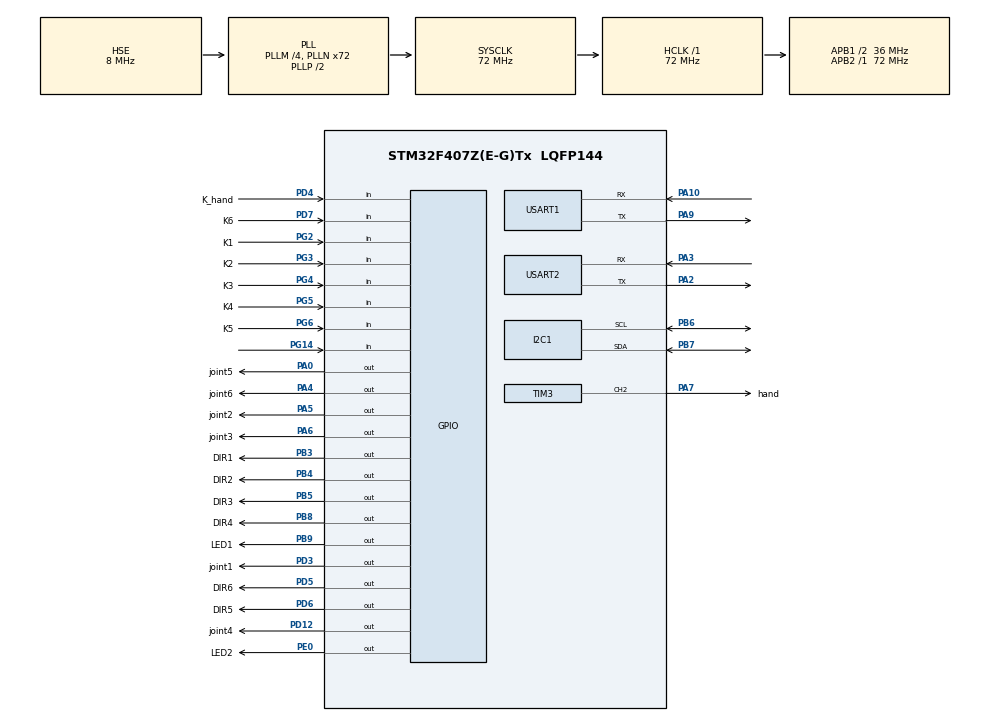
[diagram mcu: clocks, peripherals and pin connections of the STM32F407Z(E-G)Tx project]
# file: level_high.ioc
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Dma.Request0=USART1_RX
Dma.USART1_RX.0.Direction=DMA_PERIPH_TO_MEMORY
Dma.USART1_RX.0.FIFOMode=DMA_FIFOMODE_DISABLE
Dma.USART1_RX.0.Instance=DMA2_Stream2
Dma.USART1_RX.0.MemDataAlignment=DMA_MDATAALIGN_BYTE
Dma.USART1_RX.0.MemInc=DMA_MINC_ENABLE
Dma.USART1_RX.0.Mode=DMA_NORMAL
Dma.USART1_RX.0.PeriphDataAlignment=DMA_PDATAALIGN_BYTE
Dma.USART1_RX.0.PeriphInc=DMA_PINC_DISABLE
Dma.USART1_RX.0.Priority=DMA_PRIORITY_MEDIUM
I2C1.I2C_Mode=I2C_Fast
Mcu.Family=STM32F4
Mcu.Name=STM32F407Z(E-G)Tx
Mcu.Package=LQFP144
NVIC.DMA2_Stream2_IRQn=true\:2\:0\:true\:false\:true\:false\:true\:true
NVIC.PriorityGroup=NVIC_PRIORITYGROUP_4
NVIC.USART1_IRQn=true\:0\:0\:false\:false\:true\:true\:true\:true
NVIC.USART2_IRQn=true\:0\:0\:false\:false\:true\:true\:true\:true
PA0-WKUP.GPIO_Label=joint5
PA0-WKUP.GPIO_PuPd=GPIO_NOPULL
PA0-WKUP.GPIO_Speed=GPIO_SPEED_FREQ_MEDIUM
PA0-WKUP.PinState=GPIO_PIN_SET
PA0-WKUP.Signal=GPIO_Output
PA10.Mode=Asynchronous
PA10.Signal=USART1_RX
PA13.Mode=Serial_Wire
PA13.Signal=SYS_JTMS-SWDIO
PA14.Mode=Serial_Wire
PA14.Signal=SYS_JTCK-SWCLK
PA2.Mode=Asynchronous
PA2.Signal=USART2_TX
PA3.Mode=Asynchronous
PA3.Signal=USART2_RX
PA4.GPIO_Label=joint6
PA4.GPIO_Speed=GPIO_SPEED_FREQ_MEDIUM
PA4.PinState=GPIO_PIN_SET
PA4.Signal=GPIO_Output
PA5.GPIO_Label=joint2
PA5.GPIO_PuPd=GPIO_NOPULL
PA5.GPIO_Speed=GPIO_SPEED_FREQ_MEDIUM
PA5.PinState=GPIO_PIN_SET
PA5.Signal=GPIO_Output
PA6.GPIO_Label=joint3
PA6.GPIO_Speed=GPIO_SPEED_FREQ_MEDIUM
PA6.PinState=GPIO_PIN_SET
PA6.Signal=GPIO_Output
PA7.GPIO_Label=hand
PA7.GPIO_Speed=GPIO_SPEED_FREQ_MEDIUM
PA7.Signal=S_TIM3_CH2
PA9.Mode=Asynchronous
PA9.Signal=USART1_TX
PB3.GPIO_Label=DIR1
PB3.PinState=GPIO_PIN_SET
PB3.Signal=GPIO_Output
PB4.GPIO_Label=DIR2
PB4.PinState=GPIO_PIN_SET
PB4.Signal=GPIO_Output
PB5.GPIO_Label=DIR3
PB5.PinState=GPIO_PIN_SET
PB5.Signal=GPIO_Output
PB6.Mode=I2C
PB6.Signal=I2C1_SCL
PB7.Mode=I2C
PB7.Signal=I2C1_SDA
PB8.GPIO_Label=DIR4
PB8.PinState=GPIO_PIN_SET
PB8.Signal=GPIO_Output
PB9.GPIO_Label=LED1
PB9.PinState=GPIO_PIN_SET
PB9.Signal=GPIO_Output
PD12.GPIO_Label=joint4
PD12.GPIO_Speed=GPIO_SPEED_FREQ_MEDIUM
PD12.PinState=GPIO_PIN_SET
PD12.Signal=GPIO_Output
PD3.GPIO_Label=joint1
PD3.GPIO_PuPd=GPIO_PULLUP
PD3.GPIO_Speed=GPIO_SPEED_FREQ_MEDIUM
PD3.PinState=GPIO_PIN_RESET
PD3.Signal=GPIO_Output
PD4.GPIO_Label=K_hand
PD4.GPIO_PuPd=GPIO_PULLUP
PD4.Signal=GPIO_Input
PD5.GPIO_Label=DIR6
PD5.PinState=GPIO_PIN_SET
PD5.Signal=GPIO_Output
PD6.GPIO_Label=DIR5
PD6.PinState=GPIO_PIN_SET
PD6.Signal=GPIO_Output
PD7.GPIO_Label=K6
PD7.GPIO_PuPd=GPIO_PULLUP
PD7.Signal=GPIO_Input
PE0.GPIO_Label=LED2
PE0.PinState=GPIO_PIN_SET
PE0.Signal=GPIO_Output
PG14.GPIO_PuPd=GPIO_PULLUP
PG14.Signal=GPIO_Input
PG2.GPIO_Label=K1
PG2.GPIO_PuPd=GPIO_PULLUP
PG2.Signal=GPIO_Input
PG3.GPIO_Label=K2
PG3.GPIO_PuPd=GPIO_PULLUP
PG3.Signal=GPIO_Input
PG4.GPIO_Label=K3
PG4.GPIO_PuPd=GPIO_PULLUP
PG4.Signal=GPIO_Input
PG5.GPIO_Label=K4
PG5.GPIO_PuPd=GPIO_PULLUP
PG5.Signal=GPIO_Input
PG6.GPIO_Label=K5
PG6.GPIO_PuPd=GPIO_PULLUP
PG6.Signal=GPIO_Input
PH0-OSC_IN.Mode=HSE-External-Oscillator
PH0-OSC_IN.Signal=RCC_OSC_IN
PH1-OSC_OUT.Mode=HSE-External-Oscillator
PH1-OSC_OUT.Signal=RCC_OSC_OUT
ProjectManager.HeapSize=0x200
ProjectManager.StackSize=0x400
ProjectManager.TargetToolchain=Makefile
RCC.48MHZClocksFreq_Value=36000000
RCC.AHBFreq_Value=72000000
RCC.APB1CLKDivider=RCC_HCLK_DIV2
RCC.APB1Freq_Value=36000000
RCC.APB1TimFreq_Value=72000000
RCC.APB2Freq_Value=72000000
RCC.APB2TimFreq_Value=72000000
RCC.CortexFreq_Value=72000000
RCC.HCLKFreq_Value=72000000
RCC.HSE_VALUE=8000000
RCC.HSI_VALUE=16000000
RCC.LSE_VALUE=32768
RCC.PLLM=4
RCC.PLLN=72
RCC.PLLSourceVirtual=RCC_PLLSOURCE_HSE
RCC.SYSCLKFreq_VALUE=72000000
RCC.SYSCLKSource=RCC_SYSCLKSOURCE_PLLCLK
RCC.VCOOutputFreq_Value=144000000
SH.S_TIM3_CH2.0=TIM3_CH2,PWM Generation2 CH2
TIM3.Channel-PWM\ Generation2\ CH2=TIM_CHANNEL_2
TIM3.Period=20000
TIM3.Prescaler=72-1
USART1.VirtualMode=VM_ASYNC
USART2.VirtualMode=VM_ASYNC
VP_TIM3_VS_ClockSourceINT.Mode=Internal
board=custom

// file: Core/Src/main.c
/* USER CODE BEGIN Header */
/**
 ******************************************************************************
 * @file           : main.c
 * @brief          : Main program body
 ******************************************************************************
 * @attention
 *
 * Copyright (c) 2025 STMicroelectronics.
 * All rights reserved.
 *
 * This software is licensed under terms that can be found in the LICENSE file
 * in the root directory of this software component.
 * If no LICENSE file comes with this software, it is provided AS-IS.
 *
 ******************************************************************************
 */
/* USER CODE END Header */
#include "main.h"
#include "dma.h"
#include "i2c.h"
#include "tim.h"
#include "usart.h"
#include "gpio.h"

/* USER CODE BEGIN Includes */
#include "package.h"
#include "motor.h"
#include "data_cal.h"
#include "oled.h"
/* USER CODE END Includes */

/* USER CODE BEGIN PTD */
enum ACTION
{
  STOP = 0,
  MOVE
};
/* USER CODE END PTD */

/* USER CODE BEGIN PV */

u8 Rec_Data[19] = {0};
enum ACTION Flag = STOP;
u8 test_data[3];
u8 test_flag = 0;
int step[6] = {0};

float angleset[7] = {0};
// usart的dma
u8 dma_test[19] = {0};

#define BUF_SIZE 95
#define PACKAGE_SIZE 19
    uint8_t dma_buffer1[BUF_SIZE];
uint8_t dma_buffer2[BUF_SIZE];
volatile uint8_t current_active_buffer = 0; // 0: buffer1, 1: buffer2
volatile uint16_t last_received_size = 0;
volatile uint8_t new_data_available = 0;
/* USER CODE END PV */

void SystemClock_Config(void);
/* USER CODE BEGIN PFP */
void HAL_UARTEx_RxEventCallback(UART_HandleTypeDef *huart, uint16_t Size)
{
  if (huart->Instance == USART1)
  {
    // 记录接收到的数据量
    last_received_size = Size;

    // 切换缓冲区
    // if (current_active_buffer == 0)
    // {
    //   current_active_buffer = 1;
    //   HAL_UARTEx_ReceiveToIdle_DMA(&huart1, dma_buffer2, BUF_SIZE);
    // }
    // else
    // {
    //   current_active_buffer = 0;
    //   HAL_UARTEx_ReceiveToIdle_DMA(&huart1, dma_buffer1, BUF_SIZE);
    // }
    HAL_UARTEx_ReceiveToIdle_DMA(&huart1, dma_test, 19);
    Flag = MOVE;
    // 设置新数据可用标志
    new_data_available = 1;
  }
}

void function(void)
{
  HAL_GPIO_TogglePin(joint5_GPIO_Port, joint5_Pin);
}
/* USER CODE END PFP */

int main(void)
{

  /* MCU Configuration--------------------------------------------------------*/

  /* Reset of all peripherals, Initializes the Flash interface and the Systick. */
  HAL_Init();

  /* Configure the system clock */
  SystemClock_Config();

  /* Initialize all configured peripherals */
  MX_GPIO_Init();
  MX_DMA_Init();
  MX_USART1_UART_Init();
  MX_I2C1_Init();
  MX_TIM3_Init();
  MX_USART2_UART_Init();
  /* USER CODE BEGIN 2 */
  Motor_Init();

  /*这里是机械臂寻找复位
  ，还有oled的初始化，但是不知道为什么，这里oled初始化会出错，*/
  // OLED_Init();  // OLED初始
  // OLED_Clear(); // 清屏
  // Reset_joint();

  // HAL_UART_Receive_IT(&huart1, Rec_Data, sizeof(Rec_Data));
  // HAL_UART_Receive_IT(&huart1, test_data, sizeof(test_data));
  // HAL_UARTEx_ReceiveToIdle_DMA(&huart1, dma_buffer1, BUF_SIZE);
  HAL_UARTEx_ReceiveToIdle_DMA(&huart1, dma_test, 19);
  float temp[6] = { 1.0892242055348749, -0.17332101096690133, 1.0859638345521907, -0.00022042666860048007, 1.8829263017972695, -0.48260819561700136};
  // 1.0892242055348749, -0.17332101096690133, 1.0859638345521907, -0.00022042666860048007, 1.8829263017972695, -0.48260819561700136

  // HAL_Delay(200);
  /* USER CODE END 2 */

  /* Infinite loop */
  /* USER CODE BEGIN WHILE */
  while (1)
  {

    if (Flag == MOVE)
    {
      // OLED_ShowString(16, 1, test_data, sizeof(test_data), 0);
      // if (new_data_available == 1)
      // {
        // usartReceiveOneData(current_active_buffer == 0 ? dma_buffer2 : dma_buffer1, &huart1, angleset);
        usartReceiveOneData(dma_test, &huart1, angleset);
      //   new_data_available = 0; // 重置标志位
      // }
      motor_cal(angleset, step);
      Motor_Dir();
      Motor_Move(step);
      Flag = STOP; // 重置标志位
    }
    // HAL_Delay(500);
    // usartSendData(&huart1);
    // usartReceiveOneData(current_active_buffer == 0 ? dma_buffer2 : dma_buffer1, &huart1, angleset);
    // if (flag == 0)
    // {
    //   motor_cal(temp, step);
    //   Motor_Dir();
    //   Motor_Move(step);
    //   flag = 1;
    // }
    // HAL_Delay(1000);
    // for_delay_us(1000);
    /* USER CODE END WHILE */

    /* USER CODE BEGIN 3 */
  }

  // motor_cal(temp, step);
  // Motor_Dir();
  // Motor_Move(step);
  /* USER CODE END 3 */
}

void SystemClock_Config(void)
{
  RCC_OscInitTypeDef RCC_OscInitStruct = {0};
  RCC_ClkInitTypeDef RCC_ClkInitStruct = {0};

  /** Configure the main internal regulator output voltage
  */
  __HAL_RCC_PWR_CLK_ENABLE();
  __HAL_PWR_VOLTAGESCALING_CONFIG(PWR_REGULATOR_VOLTAGE_SCALE1);

  /** Initializes the RCC Oscillators according to the specified parameters
  * in the RCC_OscInitTypeDef structure.
  */
  RCC_OscInitStruct.OscillatorType = RCC_OSCILLATORTYPE_HSE;
  RCC_OscInitStruct.HSEState = RCC_HSE_ON;
  RCC_OscInitStruct.PLL.PLLState = RCC_PLL_ON;
  RCC_OscInitStruct.PLL.PLLSource = RCC_PLLSOURCE_HSE;
  RCC_OscInitStruct.PLL.PLLM = 4;
  RCC_OscInitStruct.PLL.PLLN = 72;
  RCC_OscInitStruct.PLL.PLLP = RCC_PLLP_DIV2;
  RCC_OscInitStruct.PLL.PLLQ = 4;
  if (HAL_RCC_OscConfig(&RCC_OscInitStruct) != HAL_OK)
  {
    Error_Handler();
  }

  /** Initializes the CPU, AHB and APB buses clocks
  */
  RCC_ClkInitStruct.ClockType = RCC_CLOCKTYPE_HCLK|RCC_CLOCKTYPE_SYSCLK
                              |RCC_CLOCKTYPE_PCLK1|RCC_CLOCKTYPE_PCLK2;
  RCC_ClkInitStruct.SYSCLKSource = RCC_SYSCLKSOURCE_PLLCLK;
  RCC_ClkInitStruct.AHBCLKDivider = RCC_SYSCLK_DIV1;
  RCC_ClkInitStruct.APB1CLKDivider = RCC_HCLK_DIV2;
  RCC_ClkInitStruct.APB2CLKDivider = RCC_HCLK_DIV1;

  if (HAL_RCC_ClockConfig(&RCC_ClkInitStruct, FLASH_LATENCY_2) != HAL_OK)
  {
    Error_Handler();
  }
}

void Error_Handler(void)
{
  __disable_irq();
  while (1)
  {
  }
}
